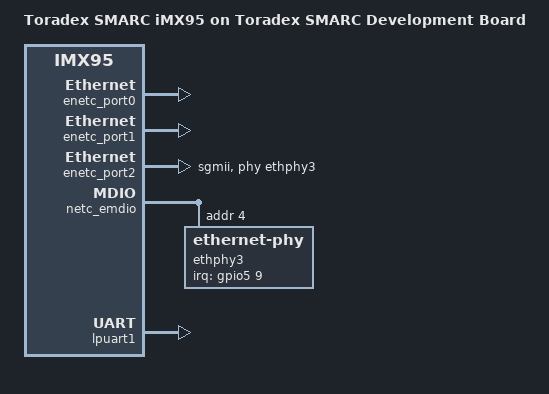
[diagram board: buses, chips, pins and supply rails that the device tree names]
// SPDX-License-Identifier: GPL-2.0-or-later OR MIT
/*
 * Copyright 2025 Toradex
 *
 * https://www.toradex.com/computer-on-modules/smarc-arm-family/nxp-imx95
 */

/dts-v1/;

#include "imx95-toradex-smarc.dtsi"

/ {
	model = "Toradex SMARC iMX95 on Toradex SMARC Development Board";
	compatible = "toradex,smarc-imx95-dev",
		     "toradex,smarc-imx95",
		     "fsl,imx95";

	aliases {
		ethernet2 = &enetc_port2;
	};

};

/* SMARC GBE0 */
&enetc_port0 {
	status = "okay";
};

/* SMARC GBE1 */
&enetc_port1 {
	status = "okay";
};

/* SMARC SERDES_0 - ETH2 */
&enetc_port2 {
	phy-handle = <&ethphy3>;
	phy-mode = "sgmii";
	status = "okay";
};

/* SMARC ENET_1_MDIO, shared between all ethernet ports */
&netc_emdio {
	status = "okay";

	ethphy3: ethernet-phy@4 {
		reg = <4>;
		pinctrl-names = "default";
		pinctrl-0 = <&pinctrl_gpio7>;
		interrupt-parent = <&gpio5>;
		interrupts = <9 IRQ_TYPE_LEVEL_LOW>;
	};
};

/* SMARC SER1, used as the Linux Console */
&lpuart1 {
	status = "okay";
};
